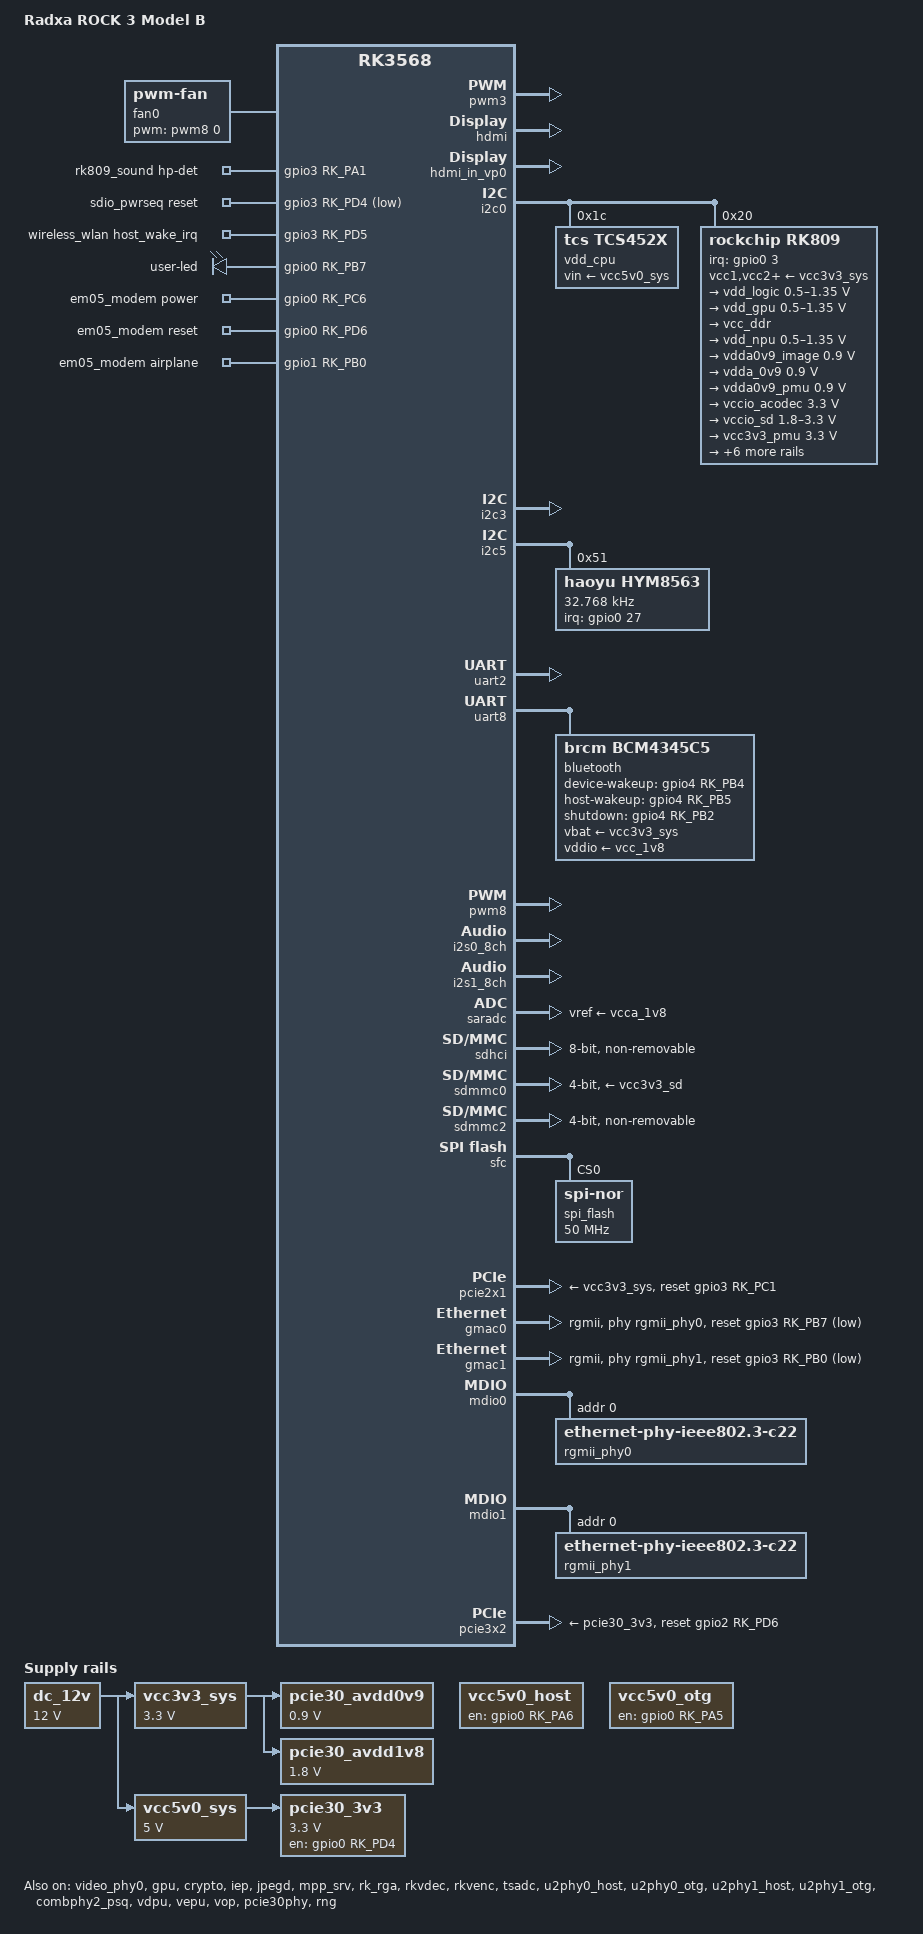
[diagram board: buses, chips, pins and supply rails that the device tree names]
// SPDX-License-Identifier: GPL-2.0+
/*
 * (C) Copyright 2024 Rockchip Electronics Co., Ltd
 * Copyright (c) 2024 Radxa Computer (Shenzhen) Co., Ltd.
 */

/dts-v1/;
// #include <dt-bindings/gpio/gpio.h>
// #include <dt-bindings/pwm/pwm.h>
// #include <dt-bindings/pinctrl/rockchip.h>
#include <dt-bindings/input/input.h>
#include "rk3568.dtsi"
#include "rk3568-u-boot.dtsi"

/ {
	model = "Radxa ROCK 3 Model B";
	compatible = "radxa,rock-3b", "rockchip,rk3568";

	fan0: pwm-fan {
		u-boot,dm-pre-reloc;
		compatible = "pwm-fan";
		#cooling-cells = <2>;
		cooling-levels = <0 64 128 192 255>;
		pwms = <&pwm8 0 10000 0>;
	};

	fiq_debugger: fiq-debugger {
		u-boot,dm-pre-reloc;
		compatible = "rockchip,fiq-debugger";
		rockchip,serial-id = <2>;
		rockchip,wake-irq = <0>;
		/* If enable uart uses irq instead of fiq */
		rockchip,irq-mode-enable = <1>;
		rockchip,baudrate = <1500000>;  /* Only 115200 and 1500000 */
		interrupts = <GIC_SPI 252 IRQ_TYPE_LEVEL_LOW>;
		pinctrl-names = "default";
		pinctrl-0 = <&uart2m0_xfer>;
		status = "okay";
	};

	debug: debug@fd904000 {
		u-boot,dm-pre-reloc;
		compatible = "rockchip,debug";
		reg = <0x0 0xfd904000 0x0 0x1000>,
			<0x0 0xfd905000 0x0 0x1000>,
			<0x0 0xfd906000 0x0 0x1000>,
			<0x0 0xfd907000 0x0 0x1000>;
	};

	cspmu: cspmu@fd90c000 {
		u-boot,dm-pre-reloc;
		compatible = "rockchip,cspmu";
		reg = <0x0 0xfd90c000 0x0 0x1000>,
			<0x0 0xfd90d000 0x0 0x1000>,
			<0x0 0xfd90e000 0x0 0x1000>,
			<0x0 0xfd90f000 0x0 0x1000>;
	};

	audiopwmout_diff: audiopwmout-diff {
		u-boot,dm-pre-reloc;
		status = "disabled";
		compatible = "simple-audio-card";
		simple-audio-card,format = "i2s";
		simple-audio-card,name = "rockchip,audiopwmout-diff";
		simple-audio-card,mclk-fs = <256>;
		simple-audio-card,bitclock-master = <&master>;
		simple-audio-card,frame-master = <&master>;
		simple-audio-card,cpu {
			sound-dai = <&i2s3_2ch>;
		};
		master: simple-audio-card,codec {
			sound-dai = <&dig_acodec>;
		};
	};

	hdmi_sound: hdmi0-sound {
		u-boot,dm-pre-reloc;
		status = "okay";
		compatible = "rockchip,hdmi";
		rockchip,mclk-fs = <128>;
		rockchip,card-name = "rockchip-hdmi0";
		rockchip,cpu = <&i2s0_8ch>;
		rockchip,codec = <&hdmi>;
		rockchip,jack-det;
	};

	pdmics: dummy-codec {
		u-boot,dm-pre-reloc;
		status = "disabled";
		compatible = "rockchip,dummy-codec";
		#sound-dai-cells = <0>;
	};

	pdm_mic_array: pdm-mic-array {
		u-boot,dm-pre-reloc;
		status = "disabled";
		compatible = "simple-audio-card";
		simple-audio-card,name = "rockchip,pdm-mic-array";
		simple-audio-card,cpu {
			sound-dai = <&pdm>;
		};
		simple-audio-card,codec {
			sound-dai = <&pdmics>;
		};
	};

	rk809_sound: rk809-sound {
		u-boot,dm-pre-reloc;
		status = "okay";
		compatible = "rockchip,multicodecs-card";
		rockchip,card-name = "rockchip-rk809";
		hp-det-gpio = <&gpio3 RK_PA1 GPIO_ACTIVE_HIGH>;
		rockchip,format = "i2s";
		rockchip,mclk-fs = <256>;
		rockchip,cpu = <&i2s1_8ch>;
		rockchip,codec = <&rk809_codec>;
		pinctrl-names = "default";
		pinctrl-0 = <&hp_det>;
	};

	dc_12v: dc-12v {
		u-boot,dm-pre-reloc;
		compatible = "regulator-fixed";
		regulator-name = "dc_12v";
		regulator-always-on;
		regulator-boot-on;
		regulator-min-microvolt = <12000000>;
		regulator-max-microvolt = <12000000>;
	};

	vcc3v3_sys: vcc3v3-sys {
		u-boot,dm-pre-reloc;
		compatible = "regulator-fixed";
		regulator-name = "vcc3v3_sys";
		regulator-always-on;
		regulator-boot-on;
		regulator-min-microvolt = <3300000>;
		regulator-max-microvolt = <3300000>;
		vin-supply = <&dc_12v>;
	};

	vcc5v0_sys: vcc5v0-sys {
		u-boot,dm-pre-reloc;
		compatible = "regulator-fixed";
		regulator-name = "vcc5v0_sys";
		regulator-always-on;
		regulator-boot-on;
		regulator-min-microvolt = <5000000>;
		regulator-max-microvolt = <5000000>;
		vin-supply = <&dc_12v>;
	};

	vcc5v0_host: vcc5v0-host-regulator {
		u-boot,dm-pre-reloc;
		compatible = "regulator-fixed";
		enable-active-high;
		gpio = <&gpio0 RK_PA6 GPIO_ACTIVE_HIGH>;
		pinctrl-names = "default";
		pinctrl-0 = <&vcc5v0_host_en>;
		regulator-name = "vcc5v0_host";
		regulator-always-on;
		regulator-boot-on;
	};

	vcc5v0_otg: vcc5v0-otg-regulator {
		u-boot,dm-pre-reloc;
		compatible = "regulator-fixed";
		enable-active-high;
		gpio = <&gpio0 RK_PA5 GPIO_ACTIVE_HIGH>;
		pinctrl-names = "default";
		pinctrl-0 = <&vcc5v0_otg_en>;
		regulator-name = "vcc5v0_otg";
		regulator-always-on;
		regulator-boot-on;
	};

	pcie30_avdd0v9: pcie30-avdd0v9 {
		u-boot,dm-pre-reloc;
		compatible = "regulator-fixed";
		regulator-name = "pcie30_avdd0v9";
		regulator-always-on;
		regulator-boot-on;
		regulator-min-microvolt = <900000>;
		regulator-max-microvolt = <900000>;
		vin-supply = <&vcc3v3_sys>;
	};

	pcie30_avdd1v8: pcie30-avdd1v8 {
		u-boot,dm-pre-reloc;
		compatible = "regulator-fixed";
		regulator-name = "pcie30_avdd1v8";
		regulator-always-on;
		regulator-boot-on;
		regulator-min-microvolt = <1800000>;
		regulator-max-microvolt = <1800000>;
		vin-supply = <&vcc3v3_sys>;
	};

	pcie30_3v3: gpio-regulator {
		u-boot,dm-pre-reloc;
		// compatible = "regulator-gpio";
		compatible = "regulator-fixed";
		regulator-name = "pcie30_3v3";
		regulator-min-microvolt = <3300000>;
		regulator-max-microvolt = <3300000>;
		enable-active-high;
		gpio = <&gpio0 RK_PD4 GPIO_ACTIVE_HIGH>;
		regulator-boot-on;
		regulator-always-on;
		vin-supply = <&vcc5v0_sys>;
	};

	sdio_pwrseq: sdio-pwrseq {
		u-boot,dm-pre-reloc;
		compatible = "mmc-pwrseq-simple";
		clocks = <&rk809 1>;
		clock-names = "ext_clock";
		pinctrl-names = "default";
		pinctrl-0 = <&wifi_enable_h>;

		/*
		 * On the module itself this is one of these (depending
		 * on the actual card populated):
		 * - SDIO_RESET_L_WL_REG_ON
		 * - PDN (power down when low)
		 */
		reset-gpios = <&gpio3 RK_PD4 GPIO_ACTIVE_LOW>;
	};

	wireless_wlan: wireless-wlan {
		u-boot,dm-pre-reloc;
		compatible = "wlan-platdata";
		clocks = <&rk809 1>;
		clock-names = "clk_wifi";
		rockchip,grf = <&grf>;
		wifi_chip_type = "ap6275s";
		pinctrl-names = "default";
		pinctrl-0 = <&wifi_host_wake_irq>;
		WIFI,host_wake_irq = <&gpio3 RK_PD5 GPIO_ACTIVE_HIGH>;
		status = "okay";
	};

	gpio_leds: gpio-leds {
		u-boot,dm-pre-reloc;
		compatible = "gpio-leds";
		status = "okay";

		user-led {
			gpios = <&gpio0 RK_PB7 GPIO_ACTIVE_HIGH>;
			linux,default-trigger = "heartbeat";
			default-state = "on";
			pinctrl-0 = <&user_led>;
		};
	};

	test-power {
		u-boot,dm-pre-reloc;
		status = "okay";
	};

	em05_modem: em05-modem {
		u-boot,dm-pre-reloc;
		compatible = "lte-em05-modem-platdata";
		pinctrl-names = "default";
		pinctrl-0 = <&em05_power_en &em05_airplane_mode &em05_reset>;
		em05,power-gpio = <&gpio0 RK_PC6 GPIO_ACTIVE_HIGH>;
		em05,reset-gpio = <&gpio0 RK_PD6 GPIO_ACTIVE_HIGH>;
		em05,airplane-gpio = <&gpio1 RK_PB0 GPIO_ACTIVE_HIGH>;
		status = "okay";
	};
};

&pwm3 {
	u-boot,dm-pre-reloc;
	status = "okay";

	compatible = "rockchip,remotectl-pwm";
	remote_pwm_id = <3>;
	handle_cpu_id = <1>;
	remote_support_psci = <1>;
	pinctrl-names = "default";
	pinctrl-0 = <&pwm3_pins>;

	ir_key1 {
		rockchip,usercode = <0xff00>;
		rockchip,key_table =
			<0xba	KEY_CHANNELDOWN>,
			<0xb9	KEY_CHANNEL>,
			<0xb8	KEY_CHANNELUP>,
			<0xbb	KEY_VIDEO_PREV>,
			<0xbf	KEY_VIDEO_NEXT>,
			<0xbc	KEY_PLAYPAUSE>,
			<0xea	KEY_VOLUMEUP>,
			<0xf8	KEY_VOLUMEDOWN>,
			<0xf3	KEY_1>,
			<0xe7	KEY_2>,
			<0xa1	KEY_3>,
			<0xf7	KEY_4>,
			<0xe3	KEY_5>,
			<0xa5	KEY_6>,
			<0xbd	KEY_7>,
			<0xad	KEY_8>,
			<0xb5	KEY_9>,
			<0xe9	KEY_0>;
		};
};

&cpu0 {
	u-boot,dm-pre-reloc;
	cpu-supply = <&vdd_cpu>;
};

// &dfi {
// 	status = "okay";
// };

// &dmc {
// 	center-supply = <&vdd_logic>;
// 	status = "okay";
// };

&video_phy0 {
	u-boot,dm-pre-reloc;
	status = "okay";
};

&gpu {
	u-boot,dm-pre-reloc;
	mali-supply = <&vdd_gpu>;
	status = "okay";
};

&hdmi {
	u-boot,dm-pre-reloc;
	pinctrl-0 = <&hdmitx_scl &hdmitx_sda>;
	status = "okay";
};

&hdmi_in_vp0 {
	u-boot,dm-pre-reloc;
	status = "okay";
};

&hdmi_in_vp1 {
	u-boot,dm-pre-reloc;
	status = "disabled";
};

&hdmi_sound {
	u-boot,dm-pre-reloc;
	status = "okay";
};

&i2c0 {
	u-boot,dm-pre-reloc;
	status = "okay";

	vdd_cpu: tcs4525@1c {
		compatible = "tcs,tcs452x";
		reg = <0x1c>;
		vin-supply = <&vcc5v0_sys>;
		regulator-compatible = "fan53555-reg";
		regulator-name = "vdd_cpu";
		regulator-min-microvolt = <712500>;
		regulator-max-microvolt = <1390000>;
		regulator-init-microvolt = <900000>;
		regulator-ramp-delay = <2300>;
		fcs,suspend-voltage-selector = <1>;
		regulator-boot-on;
		regulator-always-on;
		regulator-state-mem {
			regulator-off-in-suspend;
		};
	};

	rk809: pmic@20 {
		compatible = "rockchip,rk809";
		reg = <0x20>;
		interrupt-parent = <&gpio0>;
		interrupts = <3 IRQ_TYPE_LEVEL_LOW>;

		pinctrl-names = "default", "pmic-sleep",
				"pmic-power-off", "pmic-reset";
		pinctrl-0 = <&pmic_int>;
		pinctrl-1 = <&soc_slppin_slp>, <&rk817_slppin_slp>;
		pinctrl-2 = <&soc_slppin_gpio>, <&rk817_slppin_pwrdn>;
		pinctrl-3 = <&soc_slppin_gpio>, <&rk817_slppin_rst>;

		rockchip,system-power-controller;
		wakeup-source;
		#clock-cells = <1>;
		clock-output-names = "rk808-clkout1", "rk808-clkout2";
		//fb-inner-reg-idxs = <2>;
		/* 1: rst regs (default in codes), 0: rst the pmic */
		pmic-reset-func = <0>;
		/* not save the PMIC_POWER_EN register in uboot */
		not-save-power-en = <1>;

		vcc1-supply = <&vcc3v3_sys>;
		vcc2-supply = <&vcc3v3_sys>;
		vcc3-supply = <&vcc3v3_sys>;
		vcc4-supply = <&vcc3v3_sys>;
		vcc5-supply = <&vcc3v3_sys>;
		vcc6-supply = <&vcc3v3_sys>;
		vcc7-supply = <&vcc3v3_sys>;
		vcc8-supply = <&vcc3v3_sys>;
		vcc9-supply = <&vcc3v3_sys>;

		pwrkey {
			u-boot,dm-pre-reloc;
			status = "okay";
		};

		pinctrl_rk8xx: pinctrl_rk8xx {
			u-boot,dm-pre-reloc;
			gpio-controller;
			#gpio-cells = <2>;

			rk817_slppin_null: rk817_slppin_null {
				u-boot,dm-pre-reloc;
				pins = "gpio_slp";
				function = "pin_fun0";
			};

			rk817_slppin_slp: rk817_slppin_slp {
				u-boot,dm-pre-reloc;
				pins = "gpio_slp";
				function = "pin_fun1";
			};

			rk817_slppin_pwrdn: rk817_slppin_pwrdn {
				u-boot,dm-pre-reloc;
				pins = "gpio_slp";
				function = "pin_fun2";
			};

			rk817_slppin_rst: rk817_slppin_rst {
				u-boot,dm-pre-reloc;
				pins = "gpio_slp";
				function = "pin_fun3";
			};
		};

		regulators {
			u-boot,dm-pre-reloc;
			vdd_logic: DCDC_REG1 {
				regulator-always-on;
				regulator-boot-on;
				regulator-min-microvolt = <500000>;
				regulator-max-microvolt = <1350000>;
				regulator-init-microvolt = <900000>;
				regulator-ramp-delay = <6001>;
				regulator-initial-mode = <0x2>;
				regulator-name = "vdd_logic";
				regulator-state-mem {
					regulator-off-in-suspend;
				};
			};

			vdd_gpu: DCDC_REG2 {
				u-boot,dm-pre-reloc;
				regulator-always-on;
				regulator-boot-on;
				regulator-min-microvolt = <500000>;
				regulator-max-microvolt = <1350000>;
				regulator-init-microvolt = <900000>;
				regulator-ramp-delay = <6001>;
				regulator-initial-mode = <0x2>;
				regulator-name = "vdd_gpu";
				regulator-state-mem {
					regulator-off-in-suspend;
				};
			};

			vcc_ddr: DCDC_REG3 {
				u-boot,dm-pre-reloc;
				regulator-always-on;
				regulator-boot-on;
				regulator-initial-mode = <0x2>;
				regulator-name = "vcc_ddr";
				regulator-state-mem {
					regulator-on-in-suspend;
				};
			};

			vdd_npu: DCDC_REG4 {
				u-boot,dm-pre-reloc;
				regulator-always-on;
				regulator-boot-on;
				regulator-min-microvolt = <500000>;
				regulator-max-microvolt = <1350000>;
				regulator-init-microvolt = <900000>;
				regulator-ramp-delay = <6001>;
				regulator-initial-mode = <0x2>;
				regulator-name = "vdd_npu";
				regulator-state-mem {
					regulator-off-in-suspend;
				};
			};

			vdda0v9_image: LDO_REG1 {
				u-boot,dm-pre-reloc;
				regulator-boot-on;
				regulator-always-on;
				regulator-min-microvolt = <900000>;
				regulator-max-microvolt = <900000>;
				regulator-name = "vdda0v9_image";
				regulator-state-mem {
					regulator-off-in-suspend;
				};
			};

			vdda_0v9: LDO_REG2 {
				u-boot,dm-pre-reloc;
				regulator-always-on;
				regulator-boot-on;
				regulator-min-microvolt = <900000>;
				regulator-max-microvolt = <900000>;
				regulator-name = "vdda_0v9";
				regulator-state-mem {
					regulator-off-in-suspend;
				};
			};

			vdda0v9_pmu: LDO_REG3 {
				u-boot,dm-pre-reloc;
				regulator-always-on;
				regulator-boot-on;
				regulator-min-microvolt = <900000>;
				regulator-max-microvolt = <900000>;
				regulator-name = "vdda0v9_pmu";
				regulator-state-mem {
					regulator-on-in-suspend;
					regulator-suspend-microvolt = <900000>;
				};
			};

			vccio_acodec: LDO_REG4 {
				u-boot,dm-pre-reloc;
				regulator-always-on;
				regulator-boot-on;
				regulator-min-microvolt = <3300000>;
				regulator-max-microvolt = <3300000>;
				regulator-name = "vccio_acodec";
				regulator-state-mem {
					regulator-off-in-suspend;
				};
			};

			vccio_sd: LDO_REG5 {
				u-boot,dm-pre-reloc;
				regulator-always-on;
				regulator-boot-on;
				regulator-min-microvolt = <1800000>;
				regulator-max-microvolt = <3300000>;
				regulator-name = "vccio_sd";
				regulator-state-mem {
					regulator-off-in-suspend;
				};
			};

			vcc3v3_pmu: LDO_REG6 {
				u-boot,dm-pre-reloc;
				regulator-always-on;
				regulator-boot-on;
				regulator-min-microvolt = <3300000>;
				regulator-max-microvolt = <3300000>;
				regulator-name = "vcc3v3_pmu";
				regulator-state-mem {
					regulator-on-in-suspend;
					regulator-suspend-microvolt = <3300000>;
				};
			};

			vcca_1v8: LDO_REG7 {
				u-boot,dm-pre-reloc;
				regulator-always-on;
				regulator-boot-on;
				regulator-min-microvolt = <1800000>;
				regulator-max-microvolt = <1800000>;
				regulator-name = "vcca_1v8";
				regulator-state-mem {
					regulator-off-in-suspend;
				};
			};

			vcca1v8_pmu: LDO_REG8 {
				u-boot,dm-pre-reloc;
				regulator-always-on;
				regulator-boot-on;
				regulator-min-microvolt = <1800000>;
				regulator-max-microvolt = <1800000>;
				regulator-name = "vcca1v8_pmu";
				regulator-state-mem {
					regulator-on-in-suspend;
					regulator-suspend-microvolt = <1800000>;
				};
			};

			vcca1v8_image: LDO_REG9 {
				u-boot,dm-pre-reloc;
				regulator-always-on;
				regulator-boot-on;
				regulator-min-microvolt = <1800000>;
				regulator-max-microvolt = <1800000>;
				regulator-name = "vcca1v8_image";
				regulator-state-mem {
					regulator-off-in-suspend;
				};
			};

			vcc_1v8: DCDC_REG5 {
				u-boot,dm-pre-reloc;
				regulator-always-on;
				regulator-boot-on;
				regulator-min-microvolt = <1800000>;
				regulator-max-microvolt = <1800000>;
				regulator-name = "vcc_1v8";
				regulator-state-mem {
					regulator-off-in-suspend;
				};
			};

			vcc_3v3: SWITCH_REG1 {
				u-boot,dm-pre-reloc;
				regulator-always-on;
				regulator-boot-on;
				regulator-name = "vcc_3v3";
				regulator-state-mem {
					regulator-off-in-suspend;
				};
			};

			vcc3v3_sd: SWITCH_REG2 {
				u-boot,dm-pre-reloc;
				regulator-always-on;
				regulator-boot-on;
				regulator-name = "vcc3v3_sd";
				regulator-state-mem {
					regulator-off-in-suspend;
				};
			};
		};

		rk809_codec: codec {
			u-boot,dm-pre-reloc;
			#sound-dai-cells = <0>;
			compatible = "rockchip,rk809-codec", "rockchip,rk817-codec";
			clocks = <&cru I2S1_MCLKOUT>;
			clock-names = "mclk";
			assigned-clocks = <&cru I2S1_MCLKOUT>, <&cru I2S1_MCLK_TX_IOE>;
			assigned-clock-rates = <12288000>;
			assigned-clock-parents = <&cru I2S1_MCLKOUT_TX>, <&cru I2S1_MCLKOUT_TX>;
			pinctrl-names = "default";
			pinctrl-0 = <&i2s1mclkm0>;
			hp-volume = <20>;
			spk-volume = <3>;
			mic-in-differential;
			status = "okay";
		};
	};
};

&i2c3 {
	u-boot,dm-pre-reloc;
	status = "okay";
	pinctrl-0 = <&i2c3m1_xfer>;	
};

&i2c5 {
	u-boot,dm-pre-reloc;
	status = "okay";	
	pinctrl-0 = <&i2c5m0_xfer>;

	hym8563: hym8563@51 {
		u-boot,dm-pre-reloc;
		compatible = "haoyu,hym8563";
		status = "okay";
		reg = <0x51>;
		#clock-cells = <0>;
		clock-frequency = <32768>;
		clock-output-names = "hym8563";
		pinctrl-names = "default";
		pinctrl-0 = <&hym8563_int>;
		interrupt-parent = <&gpio0>;
		interrupts = <27 IRQ_TYPE_LEVEL_LOW>;
	};
};

&crypto {
	status = "okay";
};

&uart2 {
	status = "okay";
};

&uart8 {
	u-boot,dm-pre-reloc;
	status = "okay";
	pinctrl-names = "default";
	pinctrl-0 = <&uart8m0_xfer &uart8ctsnm0 &uart8rtsnm0>;

	bluetooth {
		u-boot,dm-pre-reloc;
		compatible = "brcm,bcm4345c5";
		clocks = <&rk809 1>;
		clock-names = "lpo";
		device-wakeup-gpios = <&gpio4 RK_PB4 GPIO_ACTIVE_HIGH>;
		host-wakeup-gpios = <&gpio4 RK_PB5 GPIO_ACTIVE_HIGH>;
		shutdown-gpios = <&gpio4 RK_PB2 GPIO_ACTIVE_HIGH>;
		max-speed = <1000000>;
		pinctrl-names = "default";
		pinctrl-0 = <&bt_host_wake_l &bt_wake_l &bt_enable_h>;
		vbat-supply = <&vcc3v3_sys>;
		vddio-supply = <&vcc_1v8>;
	};
};

&pwm8 {
	u-boot,dm-pre-reloc;
	status = "okay";
};

&i2s0_8ch {
	u-boot,dm-pre-reloc;
	status = "okay";
};

&i2s1_8ch {
	u-boot,dm-pre-reloc;
	status = "okay";
	rockchip,clk-trcm = <1>;
	pinctrl-names = "default";
	pinctrl-0 = <&i2s1sclktxm0
			 &i2s1lrcktxm0
			 &i2s1sdi0m0
			 &i2s1sdo0m0>;
};

&iep {
	u-boot,dm-pre-reloc;
	status = "okay";
};

&iep_mmu {
	u-boot,dm-pre-reloc;
	status = "okay";
};

&jpegd {
	u-boot,dm-pre-reloc;
	status = "okay";
};

&jpegd_mmu {
	u-boot,dm-pre-reloc;
	status = "okay";
};

&mpp_srv {
	u-boot,dm-pre-reloc;
	status = "okay";
};

&pmu_io_domains {
	u-boot,dm-pre-reloc;
	status = "okay";
	pmuio2-supply = <&vcc3v3_pmu>;
	vccio1-supply = <&vccio_acodec>;
	vccio3-supply = <&vccio_sd>;
	vccio4-supply = <&vcc_1v8>;
	vccio5-supply = <&vcc_3v3>;
	vccio6-supply = <&vcc_1v8>;
	vccio7-supply = <&vcc_3v3>;
};

&rk_rga {
	u-boot,dm-pre-reloc;
	status = "okay";
};

&rkvdec {
	u-boot,dm-pre-reloc;
	status = "okay";
};

&rkvdec_mmu {
	u-boot,dm-pre-reloc;
	status = "okay";
};

&rkvenc {
	u-boot,dm-pre-reloc;
	venc-supply = <&vdd_logic>;
	status = "okay";
};

&rkvenc_mmu {
	u-boot,dm-pre-reloc;
	status = "okay";
};

&saradc {
	u-boot,dm-pre-reloc;
	status = "okay";
	vref-supply = <&vcca_1v8>;
};

&sdhci {
	u-boot,dm-pre-reloc;
	bus-width = <8>;
	supports-emmc;
	non-removable;
	max-frequency = <200000000>;
	status = "okay";
};

&sdmmc0 {
	u-boot,dm-pre-reloc;
	max-frequency = <150000000>;
	supports-sd;
	bus-width = <4>;
	cap-mmc-highspeed;
	cap-sd-highspeed;
	disable-wp;
	sd-uhs-sdr104;
	vmmc-supply = <&vcc3v3_sd>;
	vqmmc-supply = <&vccio_sd>;
	pinctrl-names = "default";
	pinctrl-0 = <&sdmmc0_bus4 &sdmmc0_clk &sdmmc0_cmd &sdmmc0_det>;
	status = "okay";
};

&sdmmc2 {
	u-boot,dm-pre-reloc;
	max-frequency = <150000000>;
	supports-sdio;
	bus-width = <4>;
	disable-wp;
	cap-sd-highspeed;
	cap-sdio-irq;
	keep-power-in-suspend;
	mmc-pwrseq = <&sdio_pwrseq>;
	non-removable;
	pinctrl-names = "default";
	pinctrl-0 = <&sdmmc2m0_bus4 &sdmmc2m0_cmd &sdmmc2m0_clk>;
	sd-uhs-sdr104;
	status = "okay";
};

&sfc {
	u-boot,dm-pre-reloc;
	status = "okay";
	max-freq = <50000000>;
	#address-cells = <1>;
	#size-cells = <0>;
	pinctrl-names = "default";
	pinctrl-0 = <&fspi_pins>;

	spi_flash: spi-flash@0 {
		#address-cells = <1>;
		#size-cells = <0>;
		compatible = "jedec,spi-nor";
		reg = <0x0>;
		spi-max-frequency = <50000000>;
		spi-tx-bus-width = <1>;
		spi-rx-bus-width = <4>;
		status = "okay";
	};
};

&tsadc {
	u-boot,dm-pre-reloc;
	status = "okay";
};

&u2phy0_host {
	u-boot,dm-pre-reloc;
	phy-supply = <&vcc5v0_host>;
	status = "okay";
};

&u2phy0_otg {
	u-boot,dm-pre-reloc;
	vbus-supply = <&vcc5v0_otg>;
	status = "okay";
};

&u2phy1_host {
	u-boot,dm-pre-reloc;
	phy-supply = <&vcc5v0_host>;
	status = "okay";
};

&u2phy1_otg {
	u-boot,dm-pre-reloc;
	phy-supply = <&vcc5v0_host>;
	status = "okay";
};

// /* USB OTG/USB Host_1 USB 2.0 Comb PHY_0 */
// &usb2phy0 {
// 	u-boot,dm-pre-reloc;
// 	status = "okay";
// };

// /* USB Host_2/USB Host_3 USB 2.0 Comb PHY_1 */
// &usb2phy1 {
// 	u-boot,dm-pre-reloc;
// 	status = "okay";
// };

// /* USB 2.0 Host_2 EHCI controller for high speed */
// &usb_host0_ehci {
// 	u-boot,dm-pre-reloc;
// 	status = "okay";
// };

// /* USB 2.0 Host_2 OHCI controller for full/low speed */
// &usb_host0_ohci {
// 	u-boot,dm-pre-reloc;
// 	status = "okay";
// };

// /* USB 2.0 Host_3 EHCI controller for high speed */
// &usb_host1_ehci {
// 	u-boot,dm-pre-reloc;
// 	status = "okay";
// };

// /* USB 2.0 Host_3 OHCI controller for full/low speed */
// &usb_host1_ohci {
// 	u-boot,dm-pre-reloc;
// 	status = "okay";
// };

// &usbdrd_dwc3 {
// 	u-boot,dm-pre-reloc;
// 	extcon=<&usb2phy0>;
// 	maximum-speed = "high-speed";
// 	status="okay";
// };

// /* USB 3.0 OTG controller */
// &usbdrd30 {
// 	u-boot,dm-pre-reloc;
// 	status = "okay";
// };

// &usbhost_dwc3 {
// 	u-boot,dm-pre-reloc;
// 	maximum-speed = "high-speed";
// 	status = "okay";
// };

// /* USB 3.0 Host_1 controller */
// &usbhost30 {
// 	u-boot,dm-pre-reloc;
// 	status = "okay";
// };

// /* USB 3.0 OTG/SATA Combo PHY_0 */
// &combphy0_us {
// 	u-boot,dm-pre-reloc;
// //	rockchip,dis-u3otg0-port;
// 	status = "okay";
// };

// /* USB 3.0 Host/SATA/QSGMII Combo PHY_1 */
// &combphy1_usq {
// 	u-boot,dm-pre-reloc;
// //	rockchip,dis-u3otg1-port;
// 	status = "okay";
// };

&combphy2_psq {
	u-boot,dm-pre-reloc;
	status = "okay";
};

&pcie2x1 {
	u-boot,dm-pre-reloc;
	reset-gpios = <&gpio3 RK_PC1 GPIO_ACTIVE_HIGH>;
	vpcie3v3-supply = <&vcc3v3_sys>;
	status = "okay";
};

&sata0 {
	u-boot,dm-pre-reloc;
	status = "disabled";
};

&sata1 {
	u-boot,dm-pre-reloc;
	status = "disabled";
};

&sata2 {
	u-boot,dm-pre-reloc;
	status = "disabled";
};

&vdpu {
	u-boot,dm-pre-reloc;
	status = "okay";
};

&vdpu_mmu {
	u-boot,dm-pre-reloc;
	status = "okay";
};

&vepu {
	u-boot,dm-pre-reloc;
	status = "okay";
};

&vepu_mmu {
	u-boot,dm-pre-reloc;
	status = "okay";
};

&vop {
	u-boot,dm-pre-reloc;
	status = "okay";
	assigned-clocks = <&cru DCLK_VOP0>, <&cru DCLK_VOP1>;
	assigned-clock-parents = <&pmucru PLL_HPLL>, <&cru PLL_VPLL>;
};

&vop_mmu {
	u-boot,dm-pre-reloc;
	status = "okay";
};

&gmac0 {
	u-boot,dm-pre-reloc;
	phy-mode = "rgmii";
	clock_in_out = "output";

	snps,reset-gpio = <&gpio3 RK_PB7 GPIO_ACTIVE_LOW>;
	snps,reset-active-low;
	/* Reset time is 20ms, 100ms for rtl8211f */
	snps,reset-delays-us = <0 20000 100000>;

	assigned-clocks = <&cru SCLK_GMAC0_RX_TX>, <&cru SCLK_GMAC0>;
	assigned-clock-parents = <&cru SCLK_GMAC0_RGMII_SPEED>;
	assigned-clock-rates = <0>, <125000000>;

	pinctrl-names = "default";
	pinctrl-0 = <&gmac0_miim
			 &gmac0_tx_bus2
			 &gmac0_rx_bus2
			 &gmac0_rgmii_clk
			 &gmac0_rgmii_bus>;

	tx_delay = <0x36>;
	rx_delay = <0x2d>;

	phy-handle = <&rgmii_phy0>;
	status = "okay";
};

&gmac1 {
	u-boot,dm-pre-reloc;
	phy-mode = "rgmii";
	clock_in_out = "output";

	snps,reset-gpio = <&gpio3 RK_PB0 GPIO_ACTIVE_LOW>;
	snps,reset-active-low;
	/* Reset time is 20ms, 100ms for rtl8211f */
	//snps,reset-delays-us = <0 20000 100000>;
	snps,reset-delays-us = <0 50000 150000>;

	assigned-clocks = <&cru SCLK_GMAC1_RX_TX>, <&cru SCLK_GMAC1>;
	assigned-clock-parents = <&cru SCLK_GMAC1_RGMII_SPEED>;
	assigned-clock-rates = <0>, <125000000>;

	pinctrl-names = "default";
	pinctrl-0 = <&gmac1m1_miim
			 &gmac1m1_tx_bus2
			 &gmac1m1_rx_bus2
			 &gmac1m1_rgmii_clk
			 &gmac1m1_rgmii_bus>;

	tx_delay = <0x47>;
	rx_delay = <0x28>;

	phy-handle = <&rgmii_phy1>;
	status = "okay";
};

&mdio0 {
	u-boot,dm-pre-reloc;
	rgmii_phy0: phy@0 {
		compatible = "ethernet-phy-ieee802.3-c22";
		reg = <0x0>;
	};
};

&mdio1 {
	u-boot,dm-pre-reloc;
	rgmii_phy1: phy@0 {
		compatible = "ethernet-phy-ieee802.3-c22";
		reg = <0x0>;
	};
};

&pcie30phy {
	u-boot,dm-pre-reloc;
	status = "okay";
};

&pcie3x1 {
	u-boot,dm-pre-reloc;
	rockchip,bifurcation;
	reset-gpios = <&gpio3 RK_PA1 GPIO_ACTIVE_HIGH>;
	pinctrl-names = "default";
	pinctrl-0 = <&pcie30x1m1_pins>; 
	vpcie3v3-supply = <&pcie30_3v3>;
	status = "disabled";
};

// PCIe M Key

&pcie3x2 {
	u-boot,dm-pre-reloc;
	pinctrl-names = "default";
	pinctrl-0 = <&pcie30x2m1_pins>;
	reset-gpios = <&gpio2 RK_PD6 GPIO_ACTIVE_HIGH>;
	vpcie3v3-supply = <&pcie30_3v3>;
	status = "okay";
};

&pcie30_phy_grf {
	u-boot,dm-pre-reloc;
};

&gpio0 {
	u-boot,dm-pre-reloc;
	status = "okay";
};

&gpio1 {
	u-boot,dm-pre-reloc;
	status = "okay";
};

&gpio2 {
	u-boot,dm-pre-reloc;
	status = "okay";
};

&gpio3 {
	u-boot,dm-pre-reloc;
	status = "okay";
};

&gpio4 {
	u-boot,dm-pre-reloc;
	status = "okay";
};

&rng {
	u-boot,dm-pre-reloc;
	status = "okay";
};

&can1 {
	u-boot,dm-pre-reloc;
	assigned-clocks = <&cru CLK_CAN1>;
	assigned-clock-rates = <100000000>;
	pinctrl-names = "default";
	pinctrl-0 = <&can1m0_pins>;
	status = "disabled";
};

&pinctrl {
	u-boot,dm-spl;

	pmic {
		u-boot,dm-pre-reloc;
		pmic_int: pmic_int {
			u-boot,dm-pre-reloc;
			rockchip,pins =
				<0 RK_PA3 RK_FUNC_GPIO &pcfg_pull_up>;
		};

		soc_slppin_gpio: soc_slppin_gpio {
			u-boot,dm-pre-reloc;
			rockchip,pins =
				<0 RK_PA2 RK_FUNC_GPIO &pcfg_output_low>;
		};

		soc_slppin_slp: soc_slppin_slp {
			u-boot,dm-pre-reloc;
			rockchip,pins =
				<0 RK_PA2 1 &pcfg_pull_none>;
		};

		soc_slppin_rst: soc_slppin_rst {
			u-boot,dm-pre-reloc;
			rockchip,pins =
				<0 RK_PA2 2 &pcfg_pull_none>;
		};
	};

	usb {
		vcc5v0_host_en: vcc5v0-host-en {
			u-boot,dm-pre-reloc;
			rockchip,pins = <0 RK_PA6 RK_FUNC_GPIO &pcfg_pull_none>;
		};

		vcc5v0_otg_en: vcc5v0-otg-en {
			rockchip,pins = <0 RK_PA5 RK_FUNC_GPIO &pcfg_pull_none>;
		};
	};

	sdio-pwrseq {
		wifi_enable_h: wifi-enable-h {
			u-boot,dm-pre-reloc;
			rockchip,pins = <3 RK_PD4 RK_FUNC_GPIO &pcfg_pull_none>;
		};
	};

	wireless-wlan {
		wifi_host_wake_irq: wifi-host-wake-irq {
			u-boot,dm-pre-reloc;
			rockchip,pins = <3 RK_PD5 RK_FUNC_GPIO &pcfg_pull_down>;
		};
	};

	bt {
		bt_enable_h: bt-enable-h {
			u-boot,dm-pre-reloc;
			rockchip,pins = <4 RK_PB2 RK_FUNC_GPIO &pcfg_pull_none>;
		};

		bt_host_wake_l: bt-host-wake-l {
			u-boot,dm-pre-reloc;
			rockchip,pins = <4 RK_PB5 RK_FUNC_GPIO &pcfg_pull_none>;
		};

		bt_wake_l: bt-wake-l {
			u-boot,dm-pre-reloc;
			rockchip,pins = <4 RK_PB4 RK_FUNC_GPIO &pcfg_pull_none>;
		};
	};

	headphone {
		hp_det: hp-det {
			u-boot,dm-pre-reloc;
			rockchip,pins = <3 RK_PA1 RK_FUNC_GPIO &pcfg_pull_up>;
		};
	};

	hym8563 {
		hym8563_int: hym8563-int {
			u-boot,dm-pre-reloc;
			rockchip,pins =
				<0 RK_PD3 0 &pcfg_pull_up>;
		};
	};

	leds {
		user_led: user-led {
			u-boot,dm-pre-reloc;
			rockchip,pins = <0 RK_PB7 RK_FUNC_GPIO &pcfg_pull_none>;
		};
	};

	lte-em05-modem {
		em05_airplane_mode: em05-airplane-mode {
			u-boot,dm-pre-reloc;
			rockchip,pins = <1 RK_PB0 RK_FUNC_GPIO &pcfg_pull_none>;
		};

		em05_power_en: em05-power-en {
			u-boot,dm-pre-reloc;
			rockchip,pins = <0 RK_PC6 RK_FUNC_GPIO &pcfg_pull_none>;
		};

		em05_reset: em05-reset {
			u-boot,dm-pre-reloc;
			rockchip,pins = <0 RK_PD6 RK_FUNC_GPIO &pcfg_pull_none>;
		};
	};
};
